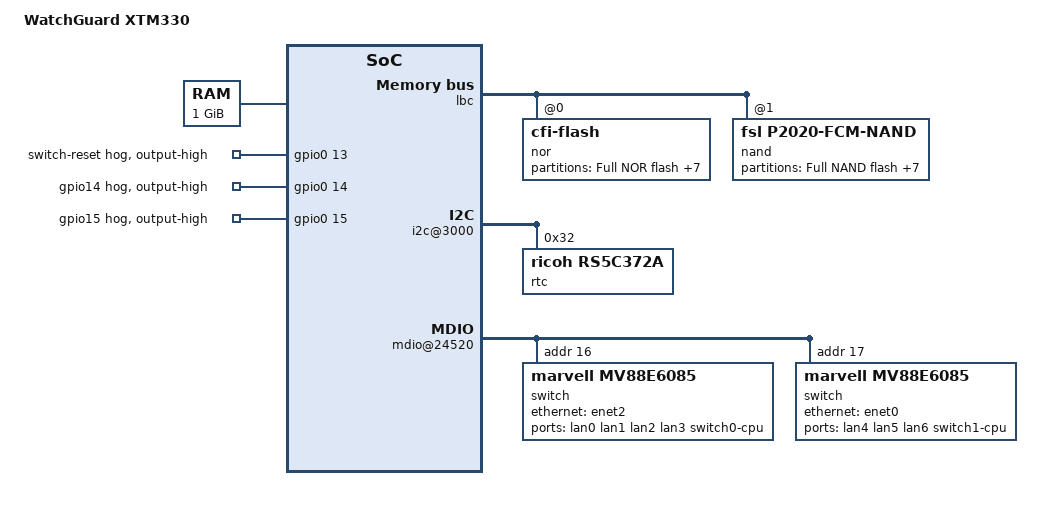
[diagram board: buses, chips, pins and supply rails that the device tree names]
// SPDX-License-Identifier: GPL-2.0-or-later
/*
 * WatchGuard XTM330 Device Tree Source
 *
 * Copyright 2009-2012 Freescale Semiconductor Inc.
 * Copyright 2024 Tobias Schramm <t.schramm@manjaro.org>
 */

/dts-v1/;

/include/ "p2020si-pre.dtsi"

#include <dt-bindings/gpio/gpio.h>
#include <dt-bindings/input/input.h>

/ {
	model = "WatchGuard XTM330";
	compatible = "watchguard,xtm330";

	aliases {
		ethernet0 = &enet0;
		ethernet1 = &enet1;
		ethernet2 = &enet2;
		serial0 = &serial0;
		serial1 = &serial1;
		pci0 = &pci0;
		pci1 = &pci1;
	};
/*
	chosen {
		stdout-path = "serial0:115200";
	};
*/
	memory {
		device_type = "memory";
	};

	reserved-memory {
		#address-cells = <2>;
		#size-cells = <2>;
		ranges;

		cpu-spintables@0x3ffff000 {
			reg = <0x0 0x3ffff000 0x0 0x40000000>;
		};
	};

	cpus {
		PowerPC,P2020@0 {
			bus-frequency = <533000000>;
			clock-frequency = <1066666656>;
			timebase-frequency = <66666666>;
		};

		PowerPC,P2020@1 {
			bus-frequency = <533000000>;
			clock-frequency = <1066666656>;
			timebase-frequency = <66666666>;
			enable-method = "spin-table";
			cpu-release-addr = <0x0 0x3ffff2a0>;
		};
	};

	lbc: localbus@ffe05000 {
		bus-frequency = <33333333>;
		reg = <0x0 0xffe05000 0x0 0x1000>;
		ranges = <0 0x0 0x0 0xefe00000 0x200000
			  1 0x0 0x0 0xffa00000 0x40000>;

		nor@0,0 {
			#address-cells = <1>;
			#size-cells = <1>;
			compatible = "cfi-flash";
			reg = <0 0x0 0x200000>;
			bank-width = <2>;
			device-width = <1>;

			partition@0 {
				reg = <0x0 0x200000>;
				label = "Full NOR flash";
			};

			partition@00000000 {
				reg = <0x0 0x20000>;
				label = "NOR (RW) WG CFG0";
			};

			partition@00020000 {
				reg = <0x20000 0x10000>;
				label = "NOR (RW) WG CFG1";
			};

			partition@00030000 {
				reg = <0x30000 0x10000>;
				label = "NOR (RW) WG MFG DATA";
			};

			partition@00040000 {
				reg = <0x40000 0xb0000>;
				label = "NOR (RW) WG bootOpt Data & reserved";
			};

			partition@000F0000 {
				reg = <0xf0000 0x10000>;
				label = "NOR (RW) WG U-Boot ENV";
			};

			partition@00100000 {
				reg = <0x100000 0x80000>;
				label = "NOR (RW) WG U-Boot Image";
			};

			partition@00180000 {
				reg = <0x180000 0x80000>;
				label = "NOR (RW) WG U-Boot FAILSAFE";
			};
		};

		nand@1,0 {
			#address-cells = <1>;
			#size-cells = <1>;
			compatible = "fsl,p2020-fcm-nand", "fsl,elbc-fcm-nand";
			reg = <1 0x0 0x40000>;

			partition@0 {
				reg = <0x0 0x20000000>;
				label = "Full NAND flash";
			};

			partition@00000000 {
				reg = <0x0 0x20000>;
				label = "NAND (RW) WG DTB Image";
			};

			partition@00020000 {
				reg = <0x20000 0x500000>;
				label = "NAND (RW) WG SYSA Kernel";
			};

			partition@00520000 {
				reg = <0x520000 0x79e0000>;
				label = "NAND (RW) WG SYSA_CODE";
			};

			partition@07f00000 {
				reg = <0x7f00000 0x16000000>;
				label = "NAND (RW) WG SYSA_DATA";
			};

			partition@1df00000 {
				reg = <0x1df00000 0x500000>;
				label = "NAND (RW) WG SYSB Kernel";
			};

			partition@1e400000 {
				reg = <0x1e400000 0x1800000>;
				label = "NAND (RW) WG SYSB_CODE";
			};

			partition@1fc00000 {
				reg = <0x1fc00000 0x400000>;
				label = "NAND (RW) WG KDUMP";
			};
		};
	};

	soc: soc@ffe00000 {
		bus-frequency = <533000000>;
		ranges = <0x0 0x0 0xffe00000 0x100000>;

		gpio0: gpio-controller@fc00 {
			switch_reset {
				gpio-hog;
				gpios = <13 GPIO_ACTIVE_HIGH>;
				output-high;
				line-name = "switch-reset";
			};

			gpio14 {
				gpio-hog;
				gpios = <14 GPIO_ACTIVE_HIGH>;
				output-high;
				line-name = "gpio14";
			};

			gpio15 {
				gpio-hog;
				gpios = <15 GPIO_ACTIVE_HIGH>;
				output-high;
				line-name = "gpio15";
			};
		};

		i2c@3000 {
/*
			hwmon@2d {
				compatible = "national,w83793";
				reg = <0x2d>;
			};
*/
			rtc@32 {
				compatible = "ricoh,rs5c372a";
				reg = <0x32>;
			};
		};

		i2c@3100 {
			status = "disabled";
		};

		usb@22000 {
			phy_type = "ulpi";
			dr_mode = "host";
		};

		mdio@24520 {
			switch@10 {
				compatible = "marvell,mv88e6085";
				#address-cells = <1>;
				#size-cells = <0>;
				dsa,member = <0 0>;
				reg = <0x10>;

				ports {
					#address-cells = <1>;
					#size-cells = <0>;

					port@0 {
						reg = <0>;
						label = "lan0";
					};

					port@1 {
						reg = <1>;
						label = "lan1";
					};

					port@2 {
						reg = <2>;
						label = "lan2";
					};

					port@3 {
						reg = <3>;
						label = "lan3";
					};

					switch0port4: port@4 {
						reg = <4>;
						link = <&switch1port0>;
						phy-mode = "internal";

						fixed-link {
							speed = <1000>;
							full-duplex;
						};
					};

					port@5 {
						reg = <5>;
						label = "switch0-cpu";
						ethernet = <&enet2>;
						phy-mode = "rgmii-id";

						fixed-link {
							speed = <1000>;
							full-duplex;
						};
					};

					switch0port6: port@6 {
						reg = <6>;
						link = <&switch1port6>;
						phy-mode = "rgmii";

						fixed-link {
							speed = <1000>;
							full-duplex;
						};
					};
				};
			};

			switch@11 {
				compatible = "marvell,mv88e6085";
				#address-cells = <1>;
				#size-cells = <0>;
				dsa,member = <0 1>;
				reg = <0x11>;

				ports {
					#address-cells = <1>;
					#size-cells = <0>;

					switch1port0: port@0 {
						reg = <0>;
						link = <&switch0port4>;
						phy-mode = "internal";

						fixed-link {
							speed = <1000>;
							full-duplex;
						};
					};

					port@1 {
					       reg = <1>;
					       label = "lan4";
					};

					port@2 {
					       reg = <2>;
					       label = "lan5";
					};

					port@3 {
					       reg = <3>;
					       label = "lan6";
					};

					/* Port 4 is not connected */

					port@5 {
						reg = <5>;
						label = "switch1-cpu";
						ethernet = <&enet0>;
						phy-mode = "rgmii-id";

						fixed-link {
							speed = <1000>;
							full-duplex;
						};
					};

					switch1port6: port@6 {
						reg = <6>;
						link = <&switch0port6>;
						phy-mode = "rgmii";

						fixed-link {
							speed = <1000>;
							full-duplex;
						};
					};
				};
			};
		};

		mdio@25520 {
			/* status = "disabled"; */
		};

		mdio@26520 {
			/* status = "disabled"; */
		};

		ptp_clock@24e00 {
			fsl,tclk-period = <5>;
			fsl,tmr-prsc = <200>;
			fsl,tmr-add = <0xCCCCCCCD>;
			fsl,tmr-fiper1 = <0x3B9AC9FB>;
			fsl,tmr-fiper2 = <0x0001869B>;
			fsl,max-adj = <249999999>;
		};

		enet0: ethernet@24000 {
			phy-connection-type = "rgmii";

			fixed-link {
				speed = <1000>;
				full-duplex;
			};
		};

		enet1: ethernet@25000 {
			status = "disabled";
		};

		enet2: ethernet@26000 {
			phy-connection-type = "rgmii";

			fixed-link {
				speed = <1000>;
				full-duplex;
			};
		};
	};

	pci0: pcie@ffe08000 {
		reg = <0 0xffe08000 0 0x1000>;
		status = "disabled";
	};

	pci1: pcie@ffe09000 {
		reg = <0 0xffe09000 0 0x1000>;
		status = "disabled";
	};

	pci2: pcie@ffe0a000 {
		reg = <0 0xffe0a000 0 0x1000>;
		ranges = <0x2000000 0x0 0x80000000 0 0x80000000 0x0 0x20000000
			  0x1000000 0x0 0x00000000 0 0xffc00000 0x0 0x10000>;
		clock-frequency = <33333333>;

		pcie@0 {
			ranges = <0x2000000 0x0 0x80000000
				  0x2000000 0x0 0x80000000
				  0x0 0x20000000

				  0x1000000 0x0 0x0
				  0x1000000 0x0 0x0
				  0x0 0x100000>;
		};
	};
};

/include/ "p2020si-post.dtsi"

/ {
        memory {
                reg = <0x0 0x0 0x0 0x40000000>;
        };
};

&serial0 {
	clock-frequency = <533000000>;
};

&serial1 {
	clock-frequency = <533000000>;
};


